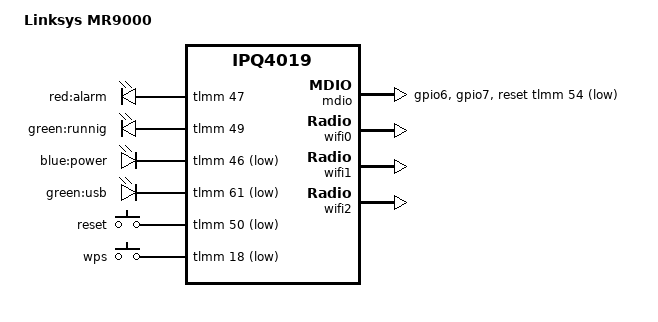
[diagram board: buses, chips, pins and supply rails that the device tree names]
// SPDX-License-Identifier: GPL-2.0-or-later OR MIT

#include <dt-bindings/leds/common.h>
#include "qcom-ipq4019-xx8300.dtsi"

/ {
	model = "Linksys MR9000";
	compatible = "linksys,mr9000", "qcom,ipq4019";

	aliases {
		led-boot = &led_blue;
		led-failsafe = &led_red;
		led-running = &led_green;
		led-upgrade = &led_blue;
		serial0 = &blsp1_uart1;
	};

	leds {
		// Top panel LEDs, above Linksys logo
		
		compatible = "gpio-leds";
		
		led_red: red {
			label = "red:alarm";
			gpios = <&tlmm 47 GPIO_ACTIVE_HIGH>;
		};

		led_green: green {
			label = "green:runnig";
			gpios = <&tlmm 49 GPIO_ACTIVE_HIGH>;
			panic-indicator;
		};

		led_blue: blue {
			label = "blue:power";
			gpios = <&tlmm 46 GPIO_ACTIVE_LOW>;
		};

		// On back panel, above USB socket

		led_usb: usb {
			label = "green:usb";
			gpios = <&tlmm 61 GPIO_ACTIVE_LOW>;
			trigger-sources = <&usb3_port1>, <&usb3_port2>,
					  <&usb2_port1>;
			linux,default-trigger = "usbport";
		};
	};

	keys {
		compatible = "gpio-keys";

		reset {
			label = "reset";
			linux,code = <KEY_RESTART>;
			gpios = <&tlmm 50 GPIO_ACTIVE_LOW>;
		};

		wps {
			label = "wps";
			linux,code = <KEY_WPS_BUTTON>;
			gpios = <&tlmm 18 GPIO_ACTIVE_LOW>;
		};
	};
};

&mdio {
	status = "okay";
	pinctrl-0 = <&mdio_pins>;
	pinctrl-names = "default";
	reset-gpios = <&tlmm 54 GPIO_ACTIVE_LOW>;
	reset-delay-us = <2000>;
	reset-post-delay-us = <5000>;
};
	
&tlmm {
	status = "okay";
	mdio_pins: mdio_pinmux {
		mux_1 {
			pins = "gpio6";
			function = "mdio";
			bias-pull-up;
		};
		mux_2 {
			pins = "gpio7";
			function = "mdc";
			bias-pull-up;
		};
	};
};

&wifi0 {
	status = "okay";
	qcom,ath10k-calibration-variant = "linksys-mr9000-fcc";
};

&wifi1 {
	status = "okay";
	ieee80211-freq-limit = <5170000 5330000>;
	qcom,ath10k-calibration-variant = "linksys-mr9000-fcc";
};

&wifi2 {
	status = "okay";
	ieee80211-freq-limit = <5490000 5835000>;
	qcom,ath10k-calibration-variant = "linksys-mr9000-fcc";
};

